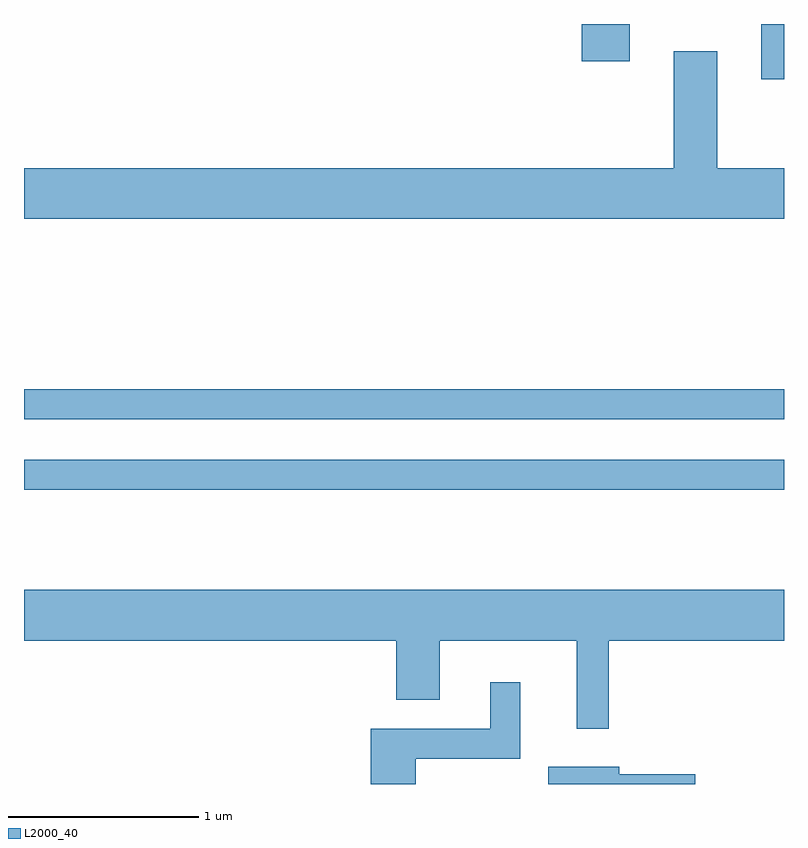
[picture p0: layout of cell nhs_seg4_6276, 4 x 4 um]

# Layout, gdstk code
import gdstk
lib = gdstk.Library(unit=1e-6, precision=1e-09)
def R(c, l, rs):  # rectangles x0, y0, x1, y1
    for r in rs: c.add(gdstk.rectangle(r[:2], r[2:], *l))
def P(c, l, *ps):  # polygons
    for p in ps: c.add(gdstk.Polygon(p, *l))
L2000_40 = (2000, 40)

nhs_seg4_6276 = lib.new_cell('nhs_seg4_6276')
R(nhs_seg4_6276, L2000_40, [(369.611,1295.531,373.611,1295.689), (369.611,1295.901,373.611,1296.059), (373.491,1297.691,373.611,1297.982), (372.546,1297.786,372.799,1297.982)])
P(nhs_seg4_6276, L2000_40, [(373.611,1297.224),(373.259,1297.224),(373.259,1297.839),(373.031,1297.839),(373.031,1297.224),(369.611,1297.224),(369.611,1296.956),(373.611,1296.956)],
  [(372.689,1294.736),(373.611,1294.736),(373.611,1295.004),(369.611,1295.004),(369.611,1294.736),(371.571,1294.736),(371.571,1294.426),(371.799,1294.426),(371.799,1294.736),(372.521,1294.736),(372.521,1294.273),(372.689,1294.273)],
  [(371.674,1294.116),(372.224,1294.116),(372.224,1294.518),(372.066,1294.518),(372.066,1294.274),(371.436,1294.274),(371.436,1293.982),(371.674,1293.982)],
  [(373.144,1294.034),(372.744,1294.034),(372.744,1294.074),(372.371,1294.074),(372.371,1293.982),(373.144,1293.982)])

lib.write_gds('nhs_seg4_6276.gds')
